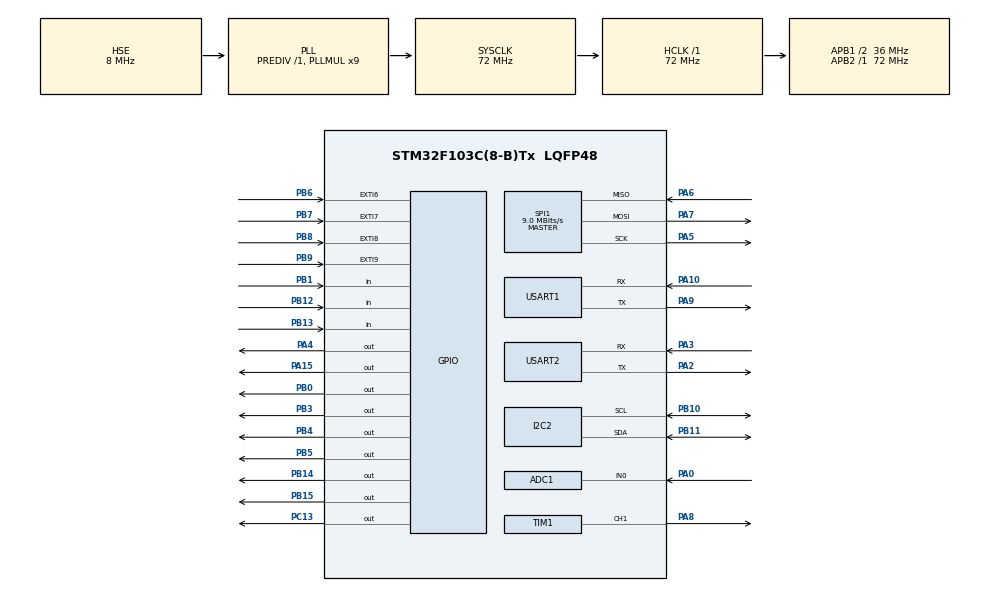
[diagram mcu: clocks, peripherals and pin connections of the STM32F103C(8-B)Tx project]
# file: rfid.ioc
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ADC1.Channel-0\#ChannelRegularConversion=ADC_CHANNEL_0
ADC1.NbrOfConversionFlag=1
ADC1.Rank-0\#ChannelRegularConversion=1
ADC1.SamplingTime-0\#ChannelRegularConversion=ADC_SAMPLETIME_1CYCLE_5
ADC1.master=1
Mcu.Family=STM32F1
Mcu.Name=STM32F103C(8-B)Tx
Mcu.Package=LQFP48
NVIC.EXTI9_5_IRQn=true\:2\:0\:true\:false\:true\:true\:true\:true
NVIC.PriorityGroup=NVIC_PRIORITYGROUP_4
PA0-WKUP.Signal=ADCx_IN0
PA10.Mode=Asynchronous
PA10.Signal=USART1_RX
PA13.Mode=Serial_Wire
PA13.Signal=SYS_JTMS-SWDIO
PA14.Mode=Serial_Wire
PA14.Signal=SYS_JTCK-SWCLK
PA15.Signal=GPIO_Output
PA2.Mode=Asynchronous
PA2.Signal=USART2_TX
PA3.Mode=Asynchronous
PA3.Signal=USART2_RX
PA4.Signal=GPIO_Output
PA5.Mode=Full_Duplex_Master
PA5.Signal=SPI1_SCK
PA6.Mode=Full_Duplex_Master
PA6.Signal=SPI1_MISO
PA7.Mode=Full_Duplex_Master
PA7.Signal=SPI1_MOSI
PA8.Signal=S_TIM1_CH1
PA9.Mode=Asynchronous
PA9.Signal=USART1_TX
PB0.Signal=GPIO_Output
PB1.Signal=GPIO_Input
PB10.Mode=I2C
PB10.Signal=I2C2_SCL
PB11.Mode=I2C
PB11.Signal=I2C2_SDA
PB12.Signal=GPIO_Input
PB13.Signal=GPIO_Input
PB14.Signal=GPIO_Output
PB15.Signal=GPIO_Output
PB3.Signal=GPIO_Output
PB4.Signal=GPIO_Output
PB5.Signal=GPIO_Output
PB6.Signal=GPXTI6
PB7.Signal=GPXTI7
PB8.Signal=GPXTI8
PB9.Signal=GPXTI9
PC13-TAMPER-RTC.Signal=GPIO_Output
PD0-OSC_IN.Mode=HSE-External-Oscillator
PD0-OSC_IN.Signal=RCC_OSC_IN
PD1-OSC_OUT.Mode=HSE-External-Oscillator
PD1-OSC_OUT.Signal=RCC_OSC_OUT
ProjectManager.HeapSize=0x200
ProjectManager.StackSize=0x400
ProjectManager.TargetToolchain=MDK-ARM V5.32
RCC.ADCPresc=RCC_ADCPCLK2_DIV8
RCC.AHBFreq_Value=72000000
RCC.APB1CLKDivider=RCC_HCLK_DIV2
RCC.APB1Freq_Value=36000000
RCC.APB1TimFreq_Value=72000000
RCC.APB2Freq_Value=72000000
RCC.APB2TimFreq_Value=72000000
RCC.HCLKFreq_Value=72000000
RCC.PLLMUL=RCC_PLL_MUL9
RCC.PLLSourceVirtual=RCC_PLLSOURCE_HSE
RCC.SYSCLKFreq_VALUE=72000000
RCC.SYSCLKSource=RCC_SYSCLKSOURCE_PLLCLK
RCC.USBFreq_Value=72000000
SH.ADCx_IN0.0=ADC1_IN0,IN0
SH.S_TIM1_CH1.0=TIM1_CH1,PWM Generation1 CH1
SPI1.BaudRatePrescaler=SPI_BAUDRATEPRESCALER_8
SPI1.CalculateBaudRate=9.0 MBits/s
SPI1.Direction=SPI_DIRECTION_2LINES
SPI1.Mode=SPI_MODE_MASTER
SPI1.VirtualType=VM_MASTER
TIM1.Channel-PWM\ Generation1\ CH1=TIM_CHANNEL_1
USART1.VirtualMode=VM_ASYNC
USART2.VirtualMode=VM_ASYNC
VP_TIM1_VS_ClockSourceINT.Mode=Internal
board=custom

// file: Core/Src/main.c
/* USER CODE BEGIN Header */
/**
  ******************************************************************************
  * @file           : main.c
  * @brief          : Main program body
  ******************************************************************************
  * @attention
  *
  * Copyright (c) 2025 STMicroelectronics.
  * All rights reserved.
  *
  * This software is licensed under terms that can be found in the LICENSE file
  * in the root directory of this software component.
  * If no LICENSE file comes with this software, it is provided AS-IS.
  *
  ******************************************************************************
  */
/* USER CODE END Header */
#include "main.h"

/* USER CODE BEGIN Includes */

#include "rc522.h"
#include "string.h"
#include "stdio.h"
#include "stdarg.h"

#define openDoor 	__HAL_TIM_SET_COMPARE(&htim1,TIM_CHANNEL_1, 10);
#define closeDoor 	__HAL_TIM_SET_COMPARE(&htim1,TIM_CHANNEL_1, 20);
#define delayMs(x) HAL_Delay(x);

#define Dia_chi_LCD 0x4E
#define MAX_CARDS 10

#define MODE_LOCK 0x00
#define MODE_CHECK 0x01
#define MODE_ADD 0x02
#define MODE_DEL 0x03
#define PW_CHANGE 0x04
#define MODE_ADD_ID 0x05
int MODE = 1;
uint32_t doorOpenTime = 0;
uint32_t lastFailTime  = 0;
uint8_t failedAttempts = 0;
uint8_t lockoutActive = 0;
uint8_t lockTime = 1;
//check
char passValid[10];
char keyValid[10];
char numRfid;
//string
char HexString[20];
char M[50];
uint8_t tmp[15];
int idx = 0;
//rfid
uint8_t defaultKeyA[6] = {0xFF, 0xFF, 0xFF, 0xFF, 0xFF, 0xFF};
uint8_t validKeyA[6] = {0xA0, 0xA1, 0xA2, 0xA3, 0xA4, 0xA5};
uint8_t cardSerial[5];
//keypad
uint32_t previousMillis = 0;
uint32_t currentMillis = 0;
uint8_t keyPressed = 1;
//btn
uint32_t btnPressTime = 0;
uint8_t btnPress = 0;
//servo
uint8_t doorIsOpen = 0;
uint8_t changeKeyPass = 0;
/* USER CODE END Includes */

ADC_HandleTypeDef hadc1;

I2C_HandleTypeDef hi2c2;

SPI_HandleTypeDef hspi1;

TIM_HandleTypeDef htim1;

UART_HandleTypeDef huart1;
UART_HandleTypeDef huart2;

void SystemClock_Config(void);
static void MX_GPIO_Init(void);
static void MX_ADC1_Init(void);
static void MX_I2C2_Init(void);
static void MX_SPI1_Init(void);
static void MX_USART1_UART_Init(void);
static void MX_USART2_UART_Init(void);
static void MX_TIM1_Init(void);

/* USER CODE BEGIN 0 */
void doorOpen();
void doorClose();
void doorOpenSlow(){
	for(int i=25;i>=10;i--){
		__HAL_TIM_SET_COMPARE(&htim1,TIM_CHANNEL_1, i);
		delayMs(40);
	}
}
void doorCloseSlow(){

	for(int i=10;i<=25;i++){
		__HAL_TIM_SET_COMPARE(&htim1,TIM_CHANNEL_1, i);
		delayMs(40);
	}

}
char h2c(char c){
  return "0123456789ABCDEF"[0x0F & (unsigned char)c];
}
uint8_t updateHexString(uint8_t value, uint8_t index){
  HexString[index++]=h2c(value>>4);
  HexString[index++]=h2c(value&0x0F);
  return(index);
}
void Lcd_Ghi_Lenh (char lenh){
  char data_u, data_l;
	uint8_t data_t[4];
	data_u = (lenh&0xf0);
	data_l = ((lenh<<4)&0xf0);
	data_t[0] = data_u|0x0C;  //en=1, rs=0
	data_t[1] = data_u|0x08;  //en=0, rs=0
	data_t[2] = data_l|0x0C;  //en=1, rs=0
	data_t[3] = data_l|0x08;  //en=0, rs=0

	HAL_I2C_Master_Transmit (&hi2c2, Dia_chi_LCD,
                          (uint8_t *) data_t, 4, 1000);
	delayMs(10);
}
void Lcd_Ghi_Dulieu (char data){
	char data_u, data_l;
	uint8_t data_t[4];
	data_u = (data&0xf0);
	data_l = ((data<<4)&0xf0);
	data_t[0] = data_u|0x0D;  //en=1, rs=1
	data_t[1] = data_u|0x09;  //en=0, rs=1
	data_t[2] = data_l|0x0D;  //en=1, rs=1
	data_t[3] = data_l|0x09;  //en=0, rs=1
	HAL_I2C_Master_Transmit (&hi2c2, Dia_chi_LCD,
                         (uint8_t *) data_t, 4, 1000);
	delayMs(10);
}
void Lcd_init (void){
	Lcd_Ghi_Lenh (0x03);
	delayMs(50);
	Lcd_Ghi_Lenh (0x02);
	delayMs(50);
	Lcd_Ghi_Lenh (0x06);
	delayMs(50);
	Lcd_Ghi_Lenh (0x0c);
	delayMs(50);
	Lcd_Ghi_Lenh (0x28);
	delayMs(50);
	Lcd_Ghi_Lenh (0x80);
	delayMs(50);
}
void Lcd_Ghi_Chuoi (char *chuoi){
	while(*chuoi)
	{
		Lcd_Ghi_Dulieu(*chuoi++);
	}

}
void LCD_SetCursor(uint8_t row, uint8_t col) {
    uint8_t address = (row == 0) ? 0x80 : 0xC0;
    address += col;
    Lcd_Ghi_Lenh(address);
}

void LCD_Print_1Line(char *chuoi){
	Lcd_Ghi_Lenh(0x80);
	Lcd_Ghi_Chuoi(chuoi);
	delayMs(5);
	Lcd_Ghi_Lenh(0xC0);
	Lcd_Ghi_Chuoi("                 ");
	delayMs(5);
}

void blinkBuzz(int solan, int thoigian){
	for(int i=0;i<solan;i++){
		HAL_GPIO_WritePin(GPIOB,GPIO_PIN_15,1);
		delayMs(thoigian);
		HAL_GPIO_WritePin(GPIOB,GPIO_PIN_15,0);
		delayMs(thoigian);
	}
}
void showError(){
	blinkBuzz(2,50);
	Lcd_Ghi_Lenh(0x80);
	Lcd_Ghi_Chuoi("Error!!!         ");
	delayMs(1000);
}
void openTheDoor(){
	if(doorIsOpen==0){
	doorIsOpen=1;
	failedAttempts = 0;
	blinkBuzz(2,40);
	doorOpenSlow();
//	openDoor;
	doorOpenTime = HAL_GetTick();
	}
}

void blinkLockMode(){
	blinkBuzz(1,70);
	sprintf(M,"Lock %ds!!!         ",5*lockTime);
	LCD_Print_1Line(M);
}

void printf0(char *buf){

	sprintf(M,"%s\r\n",buf);
	HAL_UART_Transmit(&huart1,(uint8_t*)M,strlen(M),100);
}
void sendAT(char *cmd) {
  HAL_UART_Transmit(&huart1, (uint8_t *)cmd, strlen(cmd), 1000);
}
int sendAT_Wait(char *cmd, char *expected, uint32_t timeout) {
  char buffer[200];
  memset(buffer, 0, sizeof(buffer));
  sendAT(cmd);
  uint32_t t0 = HAL_GetTick();
  uint16_t idx = 0;
  while (HAL_GetTick() - t0 < timeout) {
    uint8_t c;
    if (HAL_UART_Receive(&huart1, &c, 1, 100) == HAL_OK) {
      buffer[idx++] = c;
      if (strstr(buffer, expected) != NULL) return 0;
		}
	}
	return 1;
}

int send4G(char *data){
	if(sendAT_Wait("AT+CGATT=1\r\n", "OK", 500)==1) return 1;
	delayMs(3);
	if(sendAT_Wait("AT+CGDCONT=1,\"IP\",\"v-internet\"\r\n", "OK", 500)==1) return 1;
	delayMs(3);
	if(sendAT_Wait("AT+CGACT=1,1\r\n", "OK", 500) ==1) return 1;
	delayMs(3);
	if(sendAT_Wait("AT+HTTPINIT\r\n", "OK", 500) ==1) return 1;
	delayMs(3);
	if(sendAT_Wait("AT+HTTPPARA=\"URL\",\"http://ldciot.id.vn/projects/dbiot/receive.php\"\r\n", "OK", 500) ==1) return 2;
	delayMs(3);
	if(sendAT_Wait("AT+HTTPPARA=\"CONTENT\",\"application/x-www-form-urlencoded\"\r\n", "OK", 500) ==1) return 2;
	delayMs(3);
	if(sendAT_Wait("AT+HTTPDATA=29,10000\r\n", "DOWN", 500) ==1) return 2;
	delayMs(3);
	sprintf(M,"sensor1=%s&sensor2=88\r\n",data);
	if(sendAT_Wait(M, "OK", 1000) ==1) return 2;
	delayMs(3);
	if(sendAT_Wait("AT+HTTPACTION=1\r\n", "OK", 1000) ==1) return 2;
	delayMs(100);
	if(sendAT_Wait("AT+HTTPTERM\r\n", "OK", 500) ==1) return 2;
	return 0;
}
int get4G(){
//	char buffer[100];
//  memset(buffer, 0, sizeof(buffer));
	int status =0;
	if(sendAT_Wait("AT+CGATT=1\r\n", "OK", 500)==1) return 1;
	delayMs(3);
	if(sendAT_Wait("AT+CGDCONT=1,\"IP\",\"v-internet\"\r\n", "OK", 500)==1) return 1;
	delayMs(3);
	if(sendAT_Wait("AT+CGACT=1,1\r\n", "OK", 500) ==1) return 1;
	delayMs(3);
	if(sendAT_Wait("AT+HTTPINIT\r\n", "OK", 500) ==1) return 1;
	delayMs(3);
	if(sendAT_Wait("AT+HTTPPARA=\"URL\",\"http://ldciot.id.vn/projects/dbiot/status.txt\"\r\n", "OK", 500) ==1) return 2;
	delayMs(3);
	if(sendAT_Wait("AT+HTTPPARA=\"CONTENT\",\"application/x-www-form-urlencoded\"\r\n", "OK", 500) ==1) return 2;
	delayMs(3);
	if(sendAT_Wait("AT+HTTPACTION=0\r\n", "OK", 1000) ==1) return 2;
	delayMs(500);
//	sendAT("AT+HTTPREAD=0,3\r\n");
//	uint32_t t0 = HAL_GetTick();
//  uint16_t idx = 0;
	if(sendAT_Wait("AT+HTTPREAD=0,3\r\n", "on", 1000) ==0) {
		status = 10;
	}
	delayMs(10);
	if(sendAT_Wait("AT+HTTPTERM\r\n", "OK", 500) ==1) return 2;
	return status;
}
//void send2Web(char *){
//	int sendStatus = send4G();
//	if(sendStatus ==2){
//		sendAT_Wait("AT+HTTPTERM\r\n", "OK", 1000)
//	} else
//}
char matkhau;
void simpleMap(uint8_t *input, int len, uint8_t *output) {
    for (int i = 0; i < len; i++) {
        output[i] = (input[i] ^ (i * 0x5A)) + 0x33;
    }
}
void changePassword(uint8_t *newPassword){
	if(changeKeyPass == 0){
			HAL_I2C_Mem_Write(&hi2c2,0xA1,0x08,2,newPassword,strlen((char *)newPassword),1000);
			delayMs(50);
		//	printf0("Doi mat khau thanh cong");
			memcpy(passValid, newPassword, sizeof((uint8_t*)newPassword));
	} else {
			HAL_I2C_Mem_Write(&hi2c2,0xA1,0x00,2,newPassword,strlen((char *)newPassword),1000);
			delayMs(50);
		//	printf0("Doi mat khau thanh cong");
			memcpy(keyValid, newPassword, sizeof((uint8_t*)newPassword));

	}
	idx = 0;
	memset(newPassword,'\0',15);
	MODE = MODE_CHECK;
}

int isEnteringCode = 0;   // Cờ báo hiệu đang nhập mã định danh
int cardPendingSave = 0;
char tempCode[5] = {0};   // Lưu mã định danh tạm
uint8_t codeIdx = 0;      // Vị trí nhập ký tự

int EEPROM_SaveNewCard(uchar *cardnum, char *code){
//	uint8_t numRFID;
//	HAL_I2C_Mem_Read(&hi2c2,0xA1,0x06,2,&numRFID,1,200);
//	HAL_Delay(10);
//	int baseAddr = 7 + (numRFID * 5) ;
//	numRFID++;
//	HAL_I2C_Mem_Write(&hi2c2,0xA0,0x06,2,&numRFID,1,200);
//	HAL_Delay(10);
//	HAL_I2C_Mem_Write(&hi2c2,0xA0,baseAddr,2,(uint8_t*)cardSerial,5,200);
//	HAL_Delay(10);

		uint8_t numRFID;
    if (HAL_I2C_Mem_Read(&hi2c2, 0xA1, 0x0F, 2, &numRFID, 1, 200) != HAL_OK) {
        return 0;
    }
    delayMs(20);

    int baseAddr = 16 + (numRFID * (4+4));
    numRFID++;
		numRfid = numRFID;
    if (HAL_I2C_Mem_Write(&hi2c2, 0xA0, 0x0F, 2, &numRFID, 1, 200) != HAL_OK) {
        return 0;
    }
    delayMs(20);
		///UID
    if (HAL_I2C_Mem_Write(&hi2c2, 0xA0, baseAddr, 2, (uint8_t*)cardSerial,4, 200) != HAL_OK) {
        return 0;
    }
    delayMs(20);
		///ID

		if (HAL_I2C_Mem_Write(&hi2c2, 0xA0, baseAddr + 4, 2, (uint8_t*)code, 4, 200) != HAL_OK) {
        return 0;
    }
		LCD_Print_1Line("Add card success! ");
		blinkBuzz(4,50);
		delayMs(1000);
    return 1;

}
////////////////////////////////////////////////////////////
typedef struct {
    uint8_t uid[4];
    char code[4];
} UserRecord;
uint8_t cardViewIndex = 0;
uint8_t totalCards = 0;
int isViewingCards = 0; // Cờ đang xem danh sách thẻ
int EEPROM_ReadCardByIndex(uint8_t index, UserRecord *card) {
    int baseAddr = 16 + (index * 8);
    if (HAL_I2C_Mem_Read(&hi2c2, 0xA1, baseAddr, 2, (uint8_t*)card, 8, 200) != HAL_OK)
        return 0;
    return 1;
}
UserRecord currentCard;
void showCard(UserRecord *card, uint8_t index) {
//    sprintf(M, "ID:%d UID:%02X %02X %02X %02X CODE:%c%c%c%c\r\n", index + 1,
//            card->uid[0], card->uid[1], card->uid[2], card->uid[3],
//            card->code[0], card->code[1], card->code[2], card->code[3]);
//    HAL_UART_Transmit(&huart1, (uint8_t*)M, strlen(M), 100);
		sprintf(M, "ID:%c%c%c%c.  %d/%d    ",card->code[0], card->code[1], card->code[2], card->code[3],index+1,numRfid);
		Lcd_Ghi_Lenh(0xC0);
		Lcd_Ghi_Chuoi(M);
}
void EEPROM_DeleteCardByIndex(uint8_t index) {
		uint8_t numRFID;
		HAL_I2C_Mem_Read(&hi2c2,0xA1,0x0F,2,&numRFID,1,200);
		int baseAddr = ((index+1) * 8) + 16 ;
		int buffer_size = (16+((numRFID+1)*8)) - baseAddr;
		char buffer[buffer_size+1];
		uint8_t blank[8];
		memset(blank, 0xFF, 8);
		HAL_I2C_Mem_Read(&hi2c2,0xA1,baseAddr,2,(uint8_t*)buffer,buffer_size,2000);
		delayMs(50);
		HAL_I2C_Mem_Write(&hi2c2,0xA0,(baseAddr-8),2,(uint8_t*)buffer,buffer_size,2000);
		delayMs(50);
		HAL_I2C_Mem_Write(&hi2c2,0xA0,baseAddr,2,(uint8_t*)blank,8,2000);
		delayMs(50);
		numRFID--;
		numRfid = numRFID;
		HAL_I2C_Mem_Write(&hi2c2,0xA0,0x0F,2,&numRFID,1,200);
		delayMs(20);
}
/////////////////////////////////////////////////////////////////
void mode_changePass(){
	sprintf(M, "New PW:%s            \r\n", tmp);
	Lcd_Ghi_Lenh(0xC0);
	Lcd_Ghi_Chuoi(M);
}
void checkkey(uint8_t *bf) {

	if (keyPressed != 1) {
		if(MODE == MODE_LOCK){
			delayMs(1);
		}
		else if (MODE == MODE_DEL && !isEnteringCode) {
				if (!isViewingCards) {
						HAL_I2C_Mem_Read(&hi2c2, 0xA1, 0x0F, 2, &totalCards, 1, 100);
						if (totalCards == 0) {
		//            printf0("Khong co the nao trong EEPROM\r\n");
							LCD_Print_1Line("No card!!      ");
							blinkBuzz(2,50);
							delayMs(1000);
							keyPressed = 1;
							MODE = MODE_CHECK;
							return;
						}
						cardViewIndex = 0;
						EEPROM_ReadCardByIndex(cardViewIndex, &currentCard);
						showCard(&currentCard, cardViewIndex);
						isViewingCards = 1;
						return;
				}

				switch (keyPressed) {
						case 'A':
								if (cardViewIndex > 0) {
										cardViewIndex--;
										EEPROM_ReadCardByIndex(cardViewIndex, &currentCard);
										showCard(&currentCard, cardViewIndex);
								}
								break;
						case 'B':
								if (cardViewIndex < totalCards - 1) {
										cardViewIndex++;
										EEPROM_ReadCardByIndex(cardViewIndex, &currentCard);
										showCard(&currentCard, cardViewIndex);
								}
								break;
						case 'C':
								EEPROM_DeleteCardByIndex(cardViewIndex);
								blinkBuzz(4,50);
								Lcd_Ghi_Lenh(0x80);
								Lcd_Ghi_Chuoi("Delete success!!  **    ");
								delayMs(1000);
		//            printf0("Da xoa the\r\n");
								HAL_I2C_Mem_Read(&hi2c2, 0xA1, 0x0F, 2, &totalCards, 1, 100);
								if (totalCards == 0) {
		//                printf0("Danh sach rong\r\n");
										MODE = MODE_CHECK;
										isViewingCards = 0;
										return;
								}
								if (cardViewIndex >= totalCards) cardViewIndex = totalCards - 1;
								EEPROM_ReadCardByIndex(cardViewIndex, &currentCard);
								showCard(&currentCard, cardViewIndex);
								break;
						case '#':
		//            printf0("Thoat che do xoa the\r\n");
								MODE = MODE_CHECK;
								isViewingCards = 0;
								break;
				}
				keyPressed = 1;
				//return;
			}
		else if (MODE == MODE_ADD_ID && isEnteringCode) {
			if(keyPressed == 'C'){
				if (codeIdx > 0) {
					codeIdx--;
					tempCode[codeIdx] = '\0';

				}
				sprintf(M, "ID: %s             \r\n", tempCode);
				Lcd_Ghi_Lenh(0xC0);
				Lcd_Ghi_Chuoi(M);
				keyPressed = 1;
				return;
			}
			else if (keyPressed!='#' && codeIdx < 4) {
				tempCode[codeIdx++] = keyPressed;
				sprintf(M, "ID: %s             \r\n", tempCode);
				Lcd_Ghi_Lenh(0xC0);
				Lcd_Ghi_Chuoi(M);
				keyPressed = 1;
				return;
			}
			else if (keyPressed == '#') {
					tempCode[4] = '\0';
					if (codeIdx == 4 && cardPendingSave) {
						if (EEPROM_SaveNewCard(cardSerial, tempCode)) {
	//						printf0("Da luu UID + ma dinh danh vao EEPROM\r\n");
							isEnteringCode = 0;
							cardPendingSave = 0;
							codeIdx = 0;
							memset(tempCode, 0, 5);
							MODE = MODE_ADD;
						} else {
	//							printf0("Luu that bai!\r\n");
								codeIdx = 0;
								memset(tempCode, 0, 5);
						}
					} else {
	//            printf0("Ma khong hop le\r\n");
							codeIdx = 0;
							memset(tempCode, 0, 5);
					}

					keyPressed = 1;
					return;
			} else {
	//        printf0("Chi duoc nhap so\r\n");
					keyPressed = 1;
					return;
			}
		}
		else if(MODE == PW_CHANGE){
			if(keyPressed == 'C'){
				if (idx > 0) {
					idx--;
					bf[idx] = '\0';
				}
			}
			else if((keyPressed >'0' && keyPressed <='9') || keyPressed =='#'){
				if (changeKeyPass ==0 ) {
					if(keyPressed!='#' && idx<6){
						bf[idx++] = keyPressed;
						keyPressed = 1;
					} else if(keyPressed =='#' && idx>=6){
						bf[idx] = '\0';
						keyPressed = 1;
						changePassword(bf);
					}
				} else {
					if(keyPressed!='#' && idx<8){
						bf[idx++] = keyPressed;
						keyPressed = 1;
					} else if(keyPressed =='#' &&idx>=8){
						bf[idx] = '\0';
						keyPressed = 1;
						changePassword(bf);
					}
				}
			}
		}
		else {
			char M0[13];
			char M1[13];
			char M2[13];
			char M3[13];
			if (keyPressed == '#') {
					if (idx > 0 && idx<14) {
							bf[idx] = '\0';
							keyPressed = 1;
//							if(MODE == PW_CHANGE){
//								changePassword(bf);
//							} else {
								sprintf(M0,"%s*100",keyValid);
								sprintf(M1,"%s*101",keyValid);
								sprintf(M2,"%s*102",keyValid);
								sprintf(M3,"%s*103",keyValid);

								if (strcmp((char*)bf, passValid) == 0 || strcmp((char*)bf, keyValid) == 0) {

										LCD_Print_1Line("Welcome...         ");
										openTheDoor();
										lockTime = 1;
										if(HAL_GPIO_ReadPin(GPIOB,GPIO_PIN_1)==1){///esp wifi
//											sprintf(M, "Data:FFFFFFFFFFFFFF\n");
											sprintf(M, "Data:FFFFFFFFFFFF%c\n", 0x48);
											HAL_UART_Transmit(&huart2, (uint8_t*)M, strlen(M), 100);
										} else {///4G
											sendAT_Wait("AT+HTTPTERM\r\n", "OK", 1000);
											char buffer4G[13] = "FFFFFFFFFFFF";
											buffer4G[12] = '\0';
											int send = send4G(buffer4G);
											if(send==2){
												sendAT_Wait("AT+HTTPTERM\r\n", "OK", 1000);
											}
										}
										delayMs(1000);
								}
								else if (strcmp((char*)bf, M2) == 0) {
//									printf0("Vao che do them the\r\n");
										lockTime = 1;
										MODE = MODE_ADD;
								}  else if (strcmp((char*)bf, M3) == 0) {
//										printf0("Vao che do xoa the\r\n");
										lockTime = 1;
										MODE = MODE_DEL;
										keyPressed = 'B';
//										NVIC_SetPendingIRQ(EXTI9_5_IRQn);
										checkkey(tmp);

								} else if (strcmp((char*)bf,M1) == 0) {
//										printf0("Vao che do doi mat khau\r\n");
										lockTime = 1;
										LCD_Print_1Line("Enter new PW!   ");
										memset(bf,'\0',15);
										changeKeyPass = 0;
										MODE = PW_CHANGE;
								}
								else if (strcmp((char*)bf,M0) == 0) {
//										printf0("Vao che do doi mat khau\r\n");
										lockTime = 1;
										LCD_Print_1Line("Enter new key PW!   ");
										memset(bf,'\0',15);
										changeKeyPass = 1;
										MODE = PW_CHANGE;
								}
								else {
//										printf0("Mat khau khong hop le\r\n");
									blinkBuzz(2,50);
									LCD_Print_1Line("Enter again!!     ");
									delayMs(1000);
									failedAttempts++;
									if (failedAttempts >= 5) {
										lockoutActive = 1;
										if(lockTime < 5) lockTime++;
										lastFailTime = HAL_GetTick();
//										printf0("Nhap sai 5 lan. Khoa 10s!\r\n");
										MODE = MODE_LOCK;
									}
								}
//							}

					}
					else if(idx==0){
						MODE = MODE_CHECK;
					}
					idx = 0;
					memset(bf, '\0', 15);
			}else if (keyPressed == 'C') {
					if (idx > 0) {
							idx--;
							bf[idx] = '\0';
					}
					keyPressed = 1;
			} else {
					bf[idx++] = keyPressed;
					keyPressed = 1;
			}
		}
	}
}

int hasCharacter(uint8_t *str) {
    if (str == NULL) return 0; // n?u chu?i null
    return str[0] != '\0';          // true n?u c� �t nh?t 1 k� t?
}

void RFID_addCard(void)
{

    uchar status;
    uchar type[2];
		uchar newKeyBlock[16] = {
			0xA0, 0xA1, 0xA2, 0xA3, 0xA4, 0xA5,   // New Key A
			0xFF, 0x07, 0x80, 0x69,               // Access bits + check byte
			0xB0, 0xB1, 0xB2, 0xB3, 0xB4, 0xB5    // New Key B
		};
		Lcd_Ghi_Lenh(0xC0);
		Lcd_Ghi_Chuoi("                         ");
		delayMs(100);
		Lcd_Ghi_Lenh(0x80);
		Lcd_Ghi_Chuoi("Add card...     ");

    status = MFRC522_Request(PICC_REQALL, type);
    if (status != MI_OK) return;

    status = MFRC522_Anticoll(cardSerial);
    if (status != MI_OK) return;

    MFRC522_SelectTag(cardSerial);

		status = MFRC522_Auth(PICC_AUTHENT1A, 7, defaultKeyA, cardSerial);
    if (status != MI_OK) {
			showError();
			return;
		}
//    block 7
    status = MFRC522_Write(7, newKeyBlock);
    if (status != MI_OK){
//        printf0("Ghi key that bai\n");
        return;
    }
//    printf0("Ghi key moi thanh cong vao sector 1\n");
		isEnteringCode = 1;
    codeIdx = 0;
    memset(tempCode, 0, 5);
    cardPendingSave = 1;
		Lcd_Ghi_Lenh(0x80);
		Lcd_Ghi_Chuoi("Nhap ID...          ");
		MODE = MODE_ADD_ID;
		blinkBuzz(1,50);
		//Add id to eeprom
//		if(EEPROM_SaveNewCard(cardSerial)==0){
//			return;
//		}
		//print lcd

		ClearBitMask(Status2Reg, 0x08);
    MFRC522_Halt();
//		MFRC522_Reset();
//		HAL_Delay(100);
//		MFRC522_Init();
}
int adc;
int get;
void RFID_checkDoor(void)
{
    uchar status;
    uchar type[2];
//    printf0("Kiem tra the\n");

		Lcd_Ghi_Lenh(0x80);
		Lcd_Ghi_Chuoi("Password | Rfid     ");
		sprintf(M, "PW:%s             ", tmp);
		Lcd_Ghi_Lenh(0xC0);
		Lcd_Ghi_Chuoi(M);

    status = MFRC522_Request(PICC_REQALL, type);
    if (status != MI_OK)
		{
//			printf0("Khong requesst duoc ");
			return;
		}
    status = MFRC522_Anticoll(cardSerial);
    if (status != MI_OK) {
//			printf0("Khong Anticoll duoc ");
			return;
		}

    MFRC522_SelectTag(cardSerial);
    // X�c th?c b?ng key m?i
    status = MFRC522_Auth(PICC_AUTHENT1A, 7, validKeyA, cardSerial);
    if (status == MI_OK){
				for(int i=0;i<numRfid;i++){
					int baseAddr = (i * 8) + 16  ;
					uint8_t cardCheck[10];
					HAL_I2C_Mem_Read(&hi2c2,0xA1,baseAddr,2,(uint8_t*)cardCheck,8,200);
					delayMs(20);
					if(memcmp(cardSerial, cardCheck, 4) == 0){
//						printf0("The co trong eeprom\n");
						//open door
						sprintf(M, "Welcome: %c%c%c%c    ",cardCheck[4], cardCheck[5], cardCheck[6], cardCheck[7]);
						Lcd_Ghi_Lenh(0x80);
						Lcd_Ghi_Chuoi(M);
						openTheDoor();
						lockTime = 1;
						/// esp
						uint8_t sum=0;
						uint8_t index = 0;
						for(int i=0;i<4;i++){
							index = updateHexString(cardCheck[i],index);
						}
						for(int i=4;i<8;i++){
							HexString[index++] = cardCheck[i];
						}
//
						for(int i=0;i<12;i++){
							sum+=HexString[i];
						}
						HexString[index++] = (uint8_t)sum;
						HexString[index++] = '\n';
						HexString[index++] = '\0';
						if(HAL_GPIO_ReadPin(GPIOB,GPIO_PIN_1)==1){///esp wifi
							sprintf(M, "Data:%s\n", HexString);
							HAL_UART_Transmit(&huart2, (uint8_t*)M, strlen(M), 100);
						} else {///4G
							sendAT_Wait("AT+HTTPTERM\r\n", "OK", 1000);
							HexString[12] = '\0';
							int send = send4G(HexString);
							if(send==2){
								sendAT_Wait("AT+HTTPTERM\r\n", "OK", 1000);
							}
						}
////						else {
////							sprintf(M,"Ma loi: %d             ",send);
////							LCD_Print_1Line(M);
////						}
						delayMs(2000);
					}
				}
//				printf0("The dung ma xac thuc\n");

    }
    else{
				LCD_Print_1Line("Card not valid!!     ");
				blinkBuzz(2,80);

//        printf0("The khong hop le hoac sai key\n");
				failedAttempts++;
				if (failedAttempts >= 5) {
						lockoutActive = 1;
						if(lockTime < 5) lockTime++;
						MODE = MODE_LOCK;
						lastFailTime = HAL_GetTick();
//						printf0("Sai the 5 lan. Tam khoa 10s\r\n");
				} else {
					delayMs(2000);
				}

    }

    ClearBitMask(Status2Reg, 0x08);
    MFRC522_Halt();
//		MFRC522_Reset();
//		HAL_Delay(100);
//		MFRC522_Init();
}

void RFID_deleteCard(void)
{
    uchar status;
    uchar type[2];
    uchar defaultKeyBlock[16] = {
        0xFF, 0xFF, 0xFF, 0xFF, 0xFF, 0xFF,
        0xFF, 0x07, 0x80, 0x69,
        0xFF, 0xFF, 0xFF, 0xFF, 0xFF, 0xFF
    };
		Lcd_Ghi_Lenh(0x80);
		Lcd_Ghi_Chuoi("Delete card....    ");
    status = MFRC522_Request(PICC_REQALL, type);
    if (status != MI_OK) return;

    status = MFRC522_Anticoll(cardSerial);
    if (status != MI_OK) return;

    MFRC522_SelectTag(cardSerial);

    status = MFRC522_Auth(PICC_AUTHENT1A, 7, validKeyA, cardSerial);
    if (status != MI_OK)
		{
			showError();
			return;
		}

    status = MFRC522_Write(7, defaultKeyBlock);
    if (status == MI_OK) {
//        printf0("Xoa the thanh cong (key ve mac dinh)\n");
				for(int i=0;i<MAX_CARDS;i++){
					int baseAddr = (i * 8) + 16  ;
					uint8_t cardCheck[7];
					HAL_I2C_Mem_Read(&hi2c2,0xA1,baseAddr,2,(uint8_t*)cardCheck,4,200);
					delayMs(20);
					if(memcmp(cardSerial, cardCheck, 4) == 0){
						EEPROM_DeleteCardByIndex(i);
						LCD_Print_1Line("Delete success!!      ");
					}

				}
				blinkBuzz(4,50);
    } else {
				showError();
//        printf0("Xoa the that bai\n");
    }
		ClearBitMask(Status2Reg, 0x08);
    MFRC522_Halt();
//		MFRC522_Reset();
//		HAL_Delay(100);
//		MFRC522_Init();
}

char keyPassword[10]= "12345678";
char openPassword[10]= "123456";
char test[20];
/* USER CODE END 0 */

uint32_t timeSIMGet = 0;
int main(void)
{

  /* MCU Configuration--------------------------------------------------------*/

  /* Reset of all peripherals, Initializes the Flash interface and the Systick. */
  HAL_Init();

  /* Configure the system clock */
  SystemClock_Config();

  /* Initialize all configured peripherals */
  MX_GPIO_Init();
  MX_ADC1_Init();
  MX_I2C2_Init();
  MX_SPI1_Init();
  MX_USART1_UART_Init();
  MX_USART2_UART_Init();
  MX_TIM1_Init();
  /* USER CODE BEGIN 2 */

	///RFID
	MFRC522_Init();
	delayMs(50);

	/// en wifi
	HAL_GPIO_WritePin(GPIOB,GPIO_PIN_12,0);
	delayMs(500);
	HAL_GPIO_WritePin(GPIOB,GPIO_PIN_12,1);

	///SERVO
	HAL_TIM_PWM_Start(&htim1,TIM_CHANNEL_1);
	delayMs(100);
	if(25 - __HAL_TIM_GET_COMPARE(&htim1,TIM_CHANNEL_1) > 2) doorCloseSlow();

//	closeDoor;
	///LCD

	////EEPROM
	//GHI mat khau..
//	HAL_I2C_Mem_Write(&hi2c2,0xA0,0x00,2,&keyPassword,8,500);
//	delayMs(10);
//	HAL_I2C_Mem_Write(&hi2c2,0xA0,0x08,2,&openPassword,6,500);
//	delayMs(10);
//	HAL_I2C_Mem_Write(&hi2c2,0xA0,0x0F,2,&num,1,200);
//	delayMs(10);

	//ktra mat khau
	HAL_I2C_Mem_Read(&hi2c2,0xA1,0x08,2,(uint8_t*)passValid,6,1000);
	delayMs(50);
	HAL_I2C_Mem_Read(&hi2c2,0xA1,0x00,2,(uint8_t*)keyValid,8,1000);
	delayMs(50);
//	sprintf(M, "MKhau:%s\r\n", passValid);
//	HAL_UART_Transmit(&huart1, (uint8_t*)M, strlen(M), 100);
	//ktra so the tu
	HAL_I2C_Mem_Read(&hi2c2,0xA1,0x0F,2,&numRfid,1,1000);
	delayMs(20);
//	sprintf(M, "So the tu:%d\r\n",numRfid );
//	HAL_UART_Transmit(&huart1, (uint8_t*)M, strlen(M), 100);

	//KEYPAD
	HAL_GPIO_WritePin(GPIOA, GPIO_PIN_15, 1);
  HAL_GPIO_WritePin(GPIOB, GPIO_PIN_3, 1);
  HAL_GPIO_WritePin(GPIOB, GPIO_PIN_4, 1);
  HAL_GPIO_WritePin(GPIOB, GPIO_PIN_5, 1);
	//SIM
	delayMs(100);

	sendAT_Wait("ATE0\r\n", "OK", 1000);
	//LCD
	Lcd_init();
	Lcd_Ghi_Lenh(0x01);
	delayMs(100);
	Lcd_Ghi_Lenh(0x80);
	Lcd_Ghi_Chuoi("Hello");
	idx=0;
	tmp[0] = ' ';
  /* USER CODE END 2 */

  /* Infinite loop */
  /* USER CODE BEGIN WHILE */
  while (1)
  {
		//% pin
//		HAL_ADC_Start(&hadc1);
//		HAL_ADC_PollForConversion(&hadc1,10);
//		adc=HAL_ADC_GetValue(&hadc1);

		delayMs(50);
		HAL_GPIO_TogglePin(GPIOC,GPIO_PIN_13);

		if(MODE == MODE_ADD) {
			RFID_addCard();
		}
		else if (MODE == MODE_DEL){
			RFID_deleteCard();
		}
		else if(MODE == MODE_CHECK){
			RFID_checkDoor();
			//get http dkhien cua
			if(HAL_GPIO_ReadPin(GPIOB,GPIO_PIN_1)==1){// wifi
				if(HAL_GPIO_ReadPin(GPIOB,GPIO_PIN_14)==1){
					LCD_Print_1Line("Welcome...         ");
					openTheDoor();
					sprintf(M, "Data:000000000000%c\n", 0x40);
					HAL_UART_Transmit(&huart2, (uint8_t*)M, strlen(M), 100);
					delayMs(5000);
				}
			} else if(HAL_GetTick() - timeSIMGet >=2500){
				//ktra get sim
				timeSIMGet = HAL_GetTick();
				get = get4G();
				if(get == 10){
					LCD_Print_1Line("Welcome...         ");
					openTheDoor();
					int send = send4G("000000000000");
					if(send==2){
						sendAT_Wait("AT+HTTPTERM\r\n", "OK", 500);
					}
					//delayMs(2000);
				} else if(get == 2){
					sendAT_Wait("AT+HTTPTERM\r\n", "OK", 500);
				}
			}
		}
		else if(MODE== PW_CHANGE){
			mode_changePass();
		}
		else if(MODE == MODE_LOCK){
			blinkLockMode();
		}

		///btn reset password
		if(HAL_GPIO_ReadPin(GPIOB,GPIO_PIN_13) ==0){
			if(!btnPress){
				btnPressTime= HAL_GetTick();
				btnPress = 1;
			}else {
				if(HAL_GetTick() - btnPressTime >=5000){
						btnPress = 0;
						HAL_I2C_Mem_Write(&hi2c2,0xA0,0x00,2,(uint8_t*)"12345678",8,500);
						delayMs(50);
						HAL_I2C_Mem_Write(&hi2c2,0xA0,0x08,2,(uint8_t*)"123456",6,500);
						delayMs(50);
						blinkBuzz(4,70);
				}
			}
		} else btnPress = 0;

		if ( (HAL_GetTick() - doorOpenTime >= 5000) && doorIsOpen==1) {///time lock door
//			closeDoor;
			doorCloseSlow();
			doorIsOpen =0;
		}

		if (lockoutActive) {
			if (HAL_GetTick() - lastFailTime >= 5*lockTime*1000) { ///time lock active key
				lockoutActive = 0;
				failedAttempts = 0;
				HAL_GPIO_WritePin(GPIOB,GPIO_PIN_15,0);
				MODE = MODE_CHECK;
//				printf0("Da mo khoa nhap lai\r\n");
			}
		}

    /* USER CODE END WHILE */

  }
}

void SystemClock_Config(void)
{
  RCC_OscInitTypeDef RCC_OscInitStruct = {0};
  RCC_ClkInitTypeDef RCC_ClkInitStruct = {0};
  RCC_PeriphCLKInitTypeDef PeriphClkInit = {0};

  /** Initializes the RCC Oscillators according to the specified parameters
  * in the RCC_OscInitTypeDef structure.
  */
  RCC_OscInitStruct.OscillatorType = RCC_OSCILLATORTYPE_HSE;
  RCC_OscInitStruct.HSEState = RCC_HSE_ON;
  RCC_OscInitStruct.HSEPredivValue = RCC_HSE_PREDIV_DIV1;
  RCC_OscInitStruct.HSIState = RCC_HSI_ON;
  RCC_OscInitStruct.PLL.PLLState = RCC_PLL_ON;
  RCC_OscInitStruct.PLL.PLLSource = RCC_PLLSOURCE_HSE;
  RCC_OscInitStruct.PLL.PLLMUL = RCC_PLL_MUL9;
  if (HAL_RCC_OscConfig(&RCC_OscInitStruct) != HAL_OK)
  {
    Error_Handler();
  }

  /** Initializes the CPU, AHB and APB buses clocks
  */
  RCC_ClkInitStruct.ClockType = RCC_CLOCKTYPE_HCLK|RCC_CLOCKTYPE_SYSCLK
                              |RCC_CLOCKTYPE_PCLK1|RCC_CLOCKTYPE_PCLK2;
  RCC_ClkInitStruct.SYSCLKSource = RCC_SYSCLKSOURCE_PLLCLK;
  RCC_ClkInitStruct.AHBCLKDivider = RCC_SYSCLK_DIV1;
  RCC_ClkInitStruct.APB1CLKDivider = RCC_HCLK_DIV2;
  RCC_ClkInitStruct.APB2CLKDivider = RCC_HCLK_DIV1;

  if (HAL_RCC_ClockConfig(&RCC_ClkInitStruct, FLASH_LATENCY_2) != HAL_OK)
  {
    Error_Handler();
  }
  PeriphClkInit.PeriphClockSelection = RCC_PERIPHCLK_ADC;
  PeriphClkInit.AdcClockSelection = RCC_ADCPCLK2_DIV8;
  if (HAL_RCCEx_PeriphCLKConfig(&PeriphClkInit) != HAL_OK)
  {
    Error_Handler();
  }
}

static void MX_ADC1_Init(void)
{

  ADC_ChannelConfTypeDef sConfig = {0};

  /** Common config
  */
  hadc1.Instance = ADC1;
  hadc1.Init.ScanConvMode = ADC_SCAN_DISABLE;
  hadc1.Init.ContinuousConvMode = ENABLE;
  hadc1.Init.DiscontinuousConvMode = DISABLE;
  hadc1.Init.ExternalTrigConv = ADC_SOFTWARE_START;
  hadc1.Init.DataAlign = ADC_DATAALIGN_RIGHT;
  hadc1.Init.NbrOfConversion = 1;
  if (HAL_ADC_Init(&hadc1) != HAL_OK)
  {
    Error_Handler();
  }

  /** Configure Regular Channel
  */
  sConfig.Channel = ADC_CHANNEL_0;
  sConfig.Rank = ADC_REGULAR_RANK_1;
  sConfig.SamplingTime = ADC_SAMPLETIME_1CYCLE_5;
  if (HAL_ADC_ConfigChannel(&hadc1, &sConfig) != HAL_OK)
  {
    Error_Handler();
  }

}

static void MX_I2C2_Init(void)
{

  hi2c2.Instance = I2C2;
  hi2c2.Init.ClockSpeed = 100000;
  hi2c2.Init.DutyCycle = I2C_DUTYCYCLE_2;
  hi2c2.Init.OwnAddress1 = 0;
  hi2c2.Init.AddressingMode = I2C_ADDRESSINGMODE_7BIT;
  hi2c2.Init.DualAddressMode = I2C_DUALADDRESS_DISABLE;
  hi2c2.Init.OwnAddress2 = 0;
  hi2c2.Init.GeneralCallMode = I2C_GENERALCALL_DISABLE;
  hi2c2.Init.NoStretchMode = I2C_NOSTRETCH_DISABLE;
  if (HAL_I2C_Init(&hi2c2) != HAL_OK)
  {
    Error_Handler();
  }

}

static void MX_SPI1_Init(void)
{

  /* SPI1 parameter configuration*/
  hspi1.Instance = SPI1;
  hspi1.Init.Mode = SPI_MODE_MASTER;
  hspi1.Init.Direction = SPI_DIRECTION_2LINES;
  hspi1.Init.DataSize = SPI_DATASIZE_8BIT;
  hspi1.Init.CLKPolarity = SPI_POLARITY_LOW;
  hspi1.Init.CLKPhase = SPI_PHASE_1EDGE;
  hspi1.Init.NSS = SPI_NSS_SOFT;
  hspi1.Init.BaudRatePrescaler = SPI_BAUDRATEPRESCALER_8;
  hspi1.Init.FirstBit = SPI_FIRSTBIT_MSB;
  hspi1.Init.TIMode = SPI_TIMODE_DISABLE;
  hspi1.Init.CRCCalculation = SPI_CRCCALCULATION_DISABLE;
  hspi1.Init.CRCPolynomial = 10;
  if (HAL_SPI_Init(&hspi1) != HAL_OK)
  {
    Error_Handler();
  }

}

static void MX_TIM1_Init(void)
{

  TIM_ClockConfigTypeDef sClockSourceConfig = {0};
  TIM_MasterConfigTypeDef sMasterConfig = {0};
  TIM_OC_InitTypeDef sConfigOC = {0};
  TIM_BreakDeadTimeConfigTypeDef sBreakDeadTimeConfig = {0};

  htim1.Instance = TIM1;
  htim1.Init.Prescaler = 7199;
  htim1.Init.CounterMode = TIM_COUNTERMODE_UP;
  htim1.Init.Period = 199;
  htim1.Init.ClockDivision = TIM_CLOCKDIVISION_DIV1;
  htim1.Init.RepetitionCounter = 0 ;
  htim1.Init.AutoReloadPreload = TIM_AUTORELOAD_PRELOAD_DISABLE;
  if (HAL_TIM_Base_Init(&htim1) != HAL_OK)
  {
    Error_Handler();
  }
  sClockSourceConfig.ClockSource = TIM_CLOCKSOURCE_INTERNAL;
  if (HAL_TIM_ConfigClockSource(&htim1, &sClockSourceConfig) != HAL_OK)
  {
    Error_Handler();
  }
  if (HAL_TIM_PWM_Init(&htim1) != HAL_OK)
  {
    Error_Handler();
  }
  sMasterConfig.MasterOutputTrigger = TIM_TRGO_RESET;
  sMasterConfig.MasterSlaveMode = TIM_MASTERSLAVEMODE_DISABLE;
  if (HAL_TIMEx_MasterConfigSynchronization(&htim1, &sMasterConfig) != HAL_OK)
  {
    Error_Handler();
  }
  sConfigOC.OCMode = TIM_OCMODE_PWM1;
  sConfigOC.Pulse = 25;
  sConfigOC.OCPolarity = TIM_OCPOLARITY_HIGH;
  sConfigOC.OCNPolarity = TIM_OCNPOLARITY_HIGH;
  sConfigOC.OCFastMode = TIM_OCFAST_DISABLE;
  sConfigOC.OCIdleState = TIM_OCIDLESTATE_RESET;
  sConfigOC.OCNIdleState = TIM_OCNIDLESTATE_RESET;
  if (HAL_TIM_PWM_ConfigChannel(&htim1, &sConfigOC, TIM_CHANNEL_1) != HAL_OK)
  {
    Error_Handler();
  }
  sBreakDeadTimeConfig.OffStateRunMode = TIM_OSSR_DISABLE;
  sBreakDeadTimeConfig.OffStateIDLEMode = TIM_OSSI_DISABLE;
  sBreakDeadTimeConfig.LockLevel = TIM_LOCKLEVEL_OFF;
  sBreakDeadTimeConfig.DeadTime = 0;
  sBreakDeadTimeConfig.BreakState = TIM_BREAK_DISABLE;
  sBreakDeadTimeConfig.BreakPolarity = TIM_BREAKPOLARITY_HIGH;
  sBreakDeadTimeConfig.AutomaticOutput = TIM_AUTOMATICOUTPUT_DISABLE;
  if (HAL_TIMEx_ConfigBreakDeadTime(&htim1, &sBreakDeadTimeConfig) != HAL_OK)
  {
    Error_Handler();
  }
  HAL_TIM_MspPostInit(&htim1);

}

static void MX_USART1_UART_Init(void)
{

  huart1.Instance = USART1;
  huart1.Init.BaudRate = 115200;
  huart1.Init.WordLength = UART_WORDLENGTH_8B;
  huart1.Init.StopBits = UART_STOPBITS_1;
  huart1.Init.Parity = UART_PARITY_NONE;
  huart1.Init.Mode = UART_MODE_TX_RX;
  huart1.Init.HwFlowCtl = UART_HWCONTROL_NONE;
  huart1.Init.OverSampling = UART_OVERSAMPLING_16;
  if (HAL_UART_Init(&huart1) != HAL_OK)
  {
    Error_Handler();
  }

}

static void MX_USART2_UART_Init(void)
{

  huart2.Instance = USART2;
  huart2.Init.BaudRate = 115200;
  huart2.Init.WordLength = UART_WORDLENGTH_8B;
  huart2.Init.StopBits = UART_STOPBITS_1;
  huart2.Init.Parity = UART_PARITY_NONE;
  huart2.Init.Mode = UART_MODE_TX_RX;
  huart2.Init.HwFlowCtl = UART_HWCONTROL_NONE;
  huart2.Init.OverSampling = UART_OVERSAMPLING_16;
  if (HAL_UART_Init(&huart2) != HAL_OK)
  {
    Error_Handler();
  }

}

static void MX_GPIO_Init(void)
{
  GPIO_InitTypeDef GPIO_InitStruct = {0};

  /* GPIO Ports Clock Enable */
  __HAL_RCC_GPIOC_CLK_ENABLE();
  __HAL_RCC_GPIOD_CLK_ENABLE();
  __HAL_RCC_GPIOA_CLK_ENABLE();
  __HAL_RCC_GPIOB_CLK_ENABLE();

  /*Configure GPIO pin Output Level */
  HAL_GPIO_WritePin(GPIOC, GPIO_PIN_13, GPIO_PIN_RESET);

  /*Configure GPIO pin Output Level */
  HAL_GPIO_WritePin(GPIOA, GPIO_PIN_4|GPIO_PIN_15, GPIO_PIN_RESET);

  /*Configure GPIO pin Output Level */
  HAL_GPIO_WritePin(GPIOB, GPIO_PIN_0|GPIO_PIN_15|GPIO_PIN_3
                          |GPIO_PIN_4|GPIO_PIN_5, GPIO_PIN_RESET);
	HAL_GPIO_WritePin(GPIOB,GPIO_PIN_12,GPIO_PIN_SET);
  /*Configure GPIO pin : PC13 */
  GPIO_InitStruct.Pin = GPIO_PIN_13;
  GPIO_InitStruct.Mode = GPIO_MODE_OUTPUT_PP;
  GPIO_InitStruct.Pull = GPIO_NOPULL;
  GPIO_InitStruct.Speed = GPIO_SPEED_FREQ_LOW;
  HAL_GPIO_Init(GPIOC, &GPIO_InitStruct);

  /*Configure GPIO pins : PA4 PA15 */
  GPIO_InitStruct.Pin = GPIO_PIN_4|GPIO_PIN_15;
  GPIO_InitStruct.Mode = GPIO_MODE_OUTPUT_PP;
  GPIO_InitStruct.Pull = GPIO_NOPULL;
  GPIO_InitStruct.Speed = GPIO_SPEED_FREQ_LOW;
  HAL_GPIO_Init(GPIOA, &GPIO_InitStruct);

  /*Configure GPIO pins : PB0 PB14 PB15 PB3
                           PB4 PB5 */
  GPIO_InitStruct.Pin = GPIO_PIN_0|GPIO_PIN_15|GPIO_PIN_3
                          |GPIO_PIN_4|GPIO_PIN_5|GPIO_PIN_12;
  GPIO_InitStruct.Mode = GPIO_MODE_OUTPUT_PP;
  GPIO_InitStruct.Pull = GPIO_NOPULL;
  GPIO_InitStruct.Speed = GPIO_SPEED_FREQ_LOW;
  HAL_GPIO_Init(GPIOB, &GPIO_InitStruct);

  /*Configure GPIO pins : PB1 PB12 PB13 */
  GPIO_InitStruct.Pin = GPIO_PIN_1|GPIO_PIN_14;
  GPIO_InitStruct.Mode = GPIO_MODE_INPUT;
  GPIO_InitStruct.Pull = GPIO_NOPULL;
  HAL_GPIO_Init(GPIOB, &GPIO_InitStruct);

  /*Configure GPIO pins : PB6 PB7 PB8 PB9 */
  GPIO_InitStruct.Pin = GPIO_PIN_6|GPIO_PIN_7|GPIO_PIN_8|GPIO_PIN_9;
  GPIO_InitStruct.Mode = GPIO_MODE_IT_RISING;
  GPIO_InitStruct.Pull = GPIO_NOPULL;
  HAL_GPIO_Init(GPIOB, &GPIO_InitStruct);

	///
	GPIO_InitStruct.Pin = GPIO_PIN_13;
  GPIO_InitStruct.Mode = GPIO_MODE_IT_RISING;
  GPIO_InitStruct.Pull = GPIO_PULLUP;
  HAL_GPIO_Init(GPIOB, &GPIO_InitStruct);

  /* EXTI interrupt init*/
  HAL_NVIC_SetPriority(EXTI9_5_IRQn, 2, 0);
  HAL_NVIC_EnableIRQ(EXTI9_5_IRQn);

	HAL_NVIC_SetPriority(EXTI15_10_IRQn, 3, 0);
  HAL_NVIC_EnableIRQ(EXTI15_10_IRQn);
}

/* USER CODE BEGIN 4 */
void EXTI15_10_IRQHandler(void)
{
  /* USER CODE BEGIN EXTI15_10_IRQn 0 */
	openTheDoor();
  /* USER CODE END EXTI15_10_IRQn 0 */
  HAL_GPIO_EXTI_IRQHandler(GPIO_PIN_13);
  /* USER CODE BEGIN EXTI15_10_IRQn 1 */

  /* USER CODE END EXTI15_10_IRQn 1 */
}
void EXTI9_5_IRQHandler(void)
{
  /* USER CODE BEGIN EXTI9_5_IRQn 0 */
	//HAL_GPIO_WritePin(GPIOA,GPIO_PIN_11,1);
  /* USER CODE END EXTI9_5_IRQn 0 */
  HAL_GPIO_EXTI_IRQHandler(GPIO_PIN_6);
  HAL_GPIO_EXTI_IRQHandler(GPIO_PIN_7);
  HAL_GPIO_EXTI_IRQHandler(GPIO_PIN_8);
  HAL_GPIO_EXTI_IRQHandler(GPIO_PIN_9);
  /* USER CODE BEGIN EXTI9_5_IRQn 1 */

	//HAL_GPIO_WritePin(GPIOA,GPIO_PIN_11,0);
  /* USER CODE END EXTI9_5_IRQn 1 */
}
void HAL_GPIO_EXTI_Callback(uint16_t GPIO_Pin)
{
	GPIO_InitTypeDef GPIO_InitStructPrivate  = {0};
  currentMillis = HAL_GetTick();
  if (currentMillis - previousMillis > 250) {
    /*Configure GPIO pins : PB6 PB7 PB8 PB9 to GPIO_INPUT*/
    GPIO_InitStructPrivate.Pin = GPIO_PIN_6|GPIO_PIN_7|GPIO_PIN_8|GPIO_PIN_9;
    GPIO_InitStructPrivate.Mode = GPIO_MODE_INPUT;
    GPIO_InitStructPrivate.Pull = GPIO_PULLDOWN; ////pulldown --nopull
    GPIO_InitStructPrivate.Speed = GPIO_SPEED_FREQ_LOW;
    HAL_GPIO_Init(GPIOB, &GPIO_InitStructPrivate);

    HAL_GPIO_WritePin(GPIOA, GPIO_PIN_15, 1);
    HAL_GPIO_WritePin(GPIOB, GPIO_PIN_3, 0);
    HAL_GPIO_WritePin(GPIOB, GPIO_PIN_4, 0);
    HAL_GPIO_WritePin(GPIOB, GPIO_PIN_5, 0);
    if(GPIO_Pin == GPIO_PIN_6 && HAL_GPIO_ReadPin(GPIOB, GPIO_PIN_6))
    {
      keyPressed = 68; //ASCII value of D
    }
    else if(GPIO_Pin == GPIO_PIN_7 && HAL_GPIO_ReadPin(GPIOB, GPIO_PIN_7))
    {
      keyPressed = 67; //ASCII value of C
    }
    else if(GPIO_Pin == GPIO_PIN_8 && HAL_GPIO_ReadPin(GPIOB, GPIO_PIN_8))
    {
      keyPressed = 66; //ASCII value of B
    }
    else if(GPIO_Pin == GPIO_PIN_9 && HAL_GPIO_ReadPin(GPIOB, GPIO_PIN_9))
    {
      keyPressed = 65; //ASCII value of A
    }

    HAL_GPIO_WritePin(GPIOA, GPIO_PIN_15, 0);
    HAL_GPIO_WritePin(GPIOB, GPIO_PIN_3, 1);
    HAL_GPIO_WritePin(GPIOB, GPIO_PIN_4, 0);
    HAL_GPIO_WritePin(GPIOB, GPIO_PIN_5, 0);
    if(GPIO_Pin == GPIO_PIN_6 && HAL_GPIO_ReadPin(GPIOB, GPIO_PIN_6))
    {
      keyPressed = 35; //ASCII value of #
    }
    else if(GPIO_Pin == GPIO_PIN_7 && HAL_GPIO_ReadPin(GPIOB, GPIO_PIN_7))
    {
      keyPressed = 57; //ASCII value of 9
    }
    else if(GPIO_Pin == GPIO_PIN_8 && HAL_GPIO_ReadPin(GPIOB, GPIO_PIN_8))
    {
      keyPressed = 54; //ASCII value of 6
    }
    else if(GPIO_Pin == GPIO_PIN_9 && HAL_GPIO_ReadPin(GPIOB, GPIO_PIN_9))
    {
      keyPressed = 51; //ASCII value of 3
    }

    HAL_GPIO_WritePin(GPIOA, GPIO_PIN_15, 0);
    HAL_GPIO_WritePin(GPIOB, GPIO_PIN_3, 0);
    HAL_GPIO_WritePin(GPIOB, GPIO_PIN_4, 1);
    HAL_GPIO_WritePin(GPIOB, GPIO_PIN_5, 0);
    if(GPIO_Pin == GPIO_PIN_6 && HAL_GPIO_ReadPin(GPIOB, GPIO_PIN_6))
    {
      keyPressed = 48; //ASCII value of 0
    }
    else if(GPIO_Pin == GPIO_PIN_7 && HAL_GPIO_ReadPin(GPIOB, GPIO_PIN_7))
    {
      keyPressed = 56; //ASCII value of 8
    }
    else if(GPIO_Pin == GPIO_PIN_8 && HAL_GPIO_ReadPin(GPIOB, GPIO_PIN_8))
    {
      keyPressed = 53; //ASCII value of 5
    }
    else if(GPIO_Pin == GPIO_PIN_9 && HAL_GPIO_ReadPin(GPIOB, GPIO_PIN_9))
    {
      keyPressed = 50; //ASCII value of 2
    }

    HAL_GPIO_WritePin(GPIOA, GPIO_PIN_15, 0);
    HAL_GPIO_WritePin(GPIOB, GPIO_PIN_3, 0);
    HAL_GPIO_WritePin(GPIOB, GPIO_PIN_4, 0);
    HAL_GPIO_WritePin(GPIOB, GPIO_PIN_5, 1);
    if(GPIO_Pin == GPIO_PIN_6 && HAL_GPIO_ReadPin(GPIOB, GPIO_PIN_6))
    {
      keyPressed = 42; //ASCII value of *
    }
    else if(GPIO_Pin == GPIO_PIN_7 && HAL_GPIO_ReadPin(GPIOB, GPIO_PIN_7))
    {
      keyPressed = 55; //ASCII value of 7
    }
    else if(GPIO_Pin == GPIO_PIN_8 && HAL_GPIO_ReadPin(GPIOB, GPIO_PIN_8))
    {
      keyPressed = 52; //ASCII value of 4
    }
    else if(GPIO_Pin == GPIO_PIN_9 && HAL_GPIO_ReadPin(GPIOB, GPIO_PIN_9))
    {
      keyPressed = 49; //ASCII value of 1
    }
    HAL_GPIO_WritePin(GPIOA, GPIO_PIN_15, 1);
    HAL_GPIO_WritePin(GPIOB, GPIO_PIN_3, 1);
    HAL_GPIO_WritePin(GPIOB, GPIO_PIN_4, 1);
    HAL_GPIO_WritePin(GPIOB, GPIO_PIN_5, 1);
    /*Configure GPIO pins : PB6 PB7 PB8 PB9 back to EXTI*/
    GPIO_InitStructPrivate.Mode = GPIO_MODE_IT_RISING;
    GPIO_InitStructPrivate.Pull = GPIO_PULLDOWN;
    HAL_GPIO_Init(GPIOB, &GPIO_InitStructPrivate);
    previousMillis = currentMillis;

		if(keyPressed>30 &&keyPressed<70){
			blinkBuzz(1,40);
			checkkey(tmp);
		}
  }
}
/* USER CODE END 4 */

void Error_Handler(void)
{
  __disable_irq();
  while (1)
  {
  }
}
